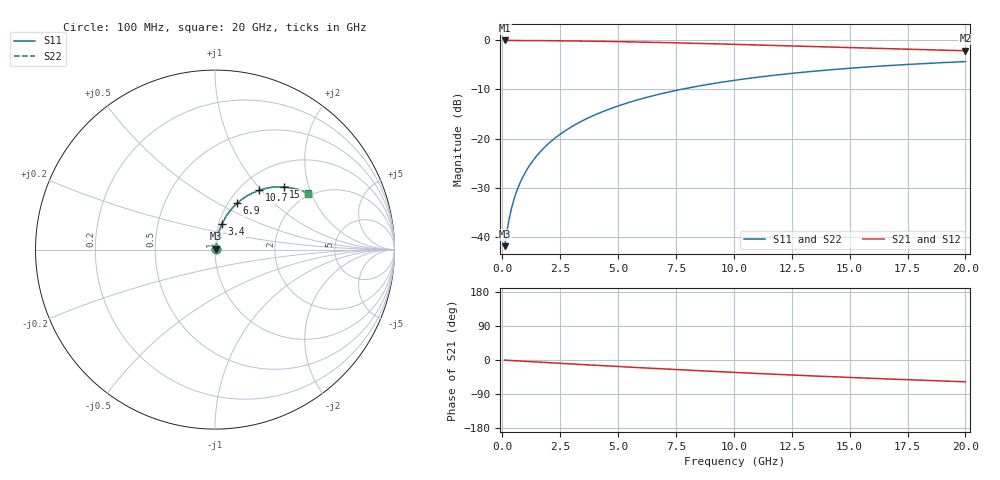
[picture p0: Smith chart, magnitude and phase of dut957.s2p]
! Touchstone file exported from HFSS 2026.1.0
!  File:  C:/ffzhzh/LocalFiles/Ansys_Project_Files/temp_train_BSMRDL_957_1783172368_22436.aedt
!  Generated:  09:40:58 PM Jul  4, 2026
!  Design:  BSMRDL
!  Project:  temp_train_BSMRDL_957_1783172368_22436
! Variables:
!  h_bsmrdl = 3.37um
!  h_ox = 20um
!  h_rdl = 5um
!  h_sub = 80um
!  h_tmrdl = 5um
!  h_tsv = 80um
!  h_via = 3um
!  l_bsmrdl = 812.74um
!  l_sub = 1212.74um
!  l_tmrdl = 200um
!  m_sub = 200um
!  pitch = 52.87um
!  r_tsv = 6um
!  s_tmrdl = 10um
!  w_bsmrdl = 12.97um
!  w_sub = 500um
!  w_tmrdl = 12um
!  x_tsv_center1 = 206um
!  x_tsv_center2 = 1031.71um
!  x_tsv_center3 = 1243.71um
!  x_tsv_center4 = 2069.42um
!  x_tsv_center5 = 2281.42um
!  x_tsv_center6 = 3107.13um
# GHz S MA R 50.000000
! Terminal data exported
! Port[1] = BSM_RDL1_1_T1
! Port[2] = BSM_RDL1_1_T2
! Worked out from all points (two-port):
!   200 points, 100 MHz to 20 GHz, reference 50 ohm
!   highest |S21| = -0.06 dB at 100 MHz (marker M1); lowest = -2.1 dB at 20 GHz (marker M2)
!   |S21| within 3 dB of the highest: start of sweep to end of sweep
!   lowest |S11| = -41.9 dB at 100 MHz (marker M3), VSWR 1.02, Z = 50.7 + j0.466 ohm
!   |S11| at or under -10 dB: start of sweep to 7.73 GHz
!   |S22| runs from -41.9 to -4.4 dB; largest |S21 - S12| = 4.5e-15
!   S11 on the Smith chart (normalised r, x): 100 MHz: 1.01, +0.01; 3.4 GHz: 1.04, +0.30; 6.9 GHz: 1.10, +0.62; 10.7 GHz: 1.22, +0.97; 15 GHz: 1.46, +1.39; 20 GHz: 1.92, +1.90
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0.1  0.008053 34.9  0.9934 -0.4  0.9934 -0.4  0.008053 34.9
! Gamma 0 0 0 0
! Port Impedance 50 0 50 0
0.2  0.01141 53.5  0.9933 -0.7  0.9933 -0.7  0.01141 53.5
0.3  0.01541 62.8  0.9931 -1.1  0.9931 -1.1  0.01541 62.8
0.4  0.01961 67.9  0.9929 -1.4  0.9929 -1.4  0.01961 67.9
0.5  0.0239 71.0  0.9927 -1.8  0.9927 -1.8  0.0239 71.0
0.6  0.02822 73.1  0.9925 -2.1  0.9925 -2.1  0.02821 73.1
0.8  0.03688 75.6  0.992 -2.8  0.992 -2.8  0.03688 75.6
1.1  0.04993 77.4  0.9912 -3.9  0.9912 -3.9  0.04993 77.4
1.5  0.06735 78.1  0.9899 -5.3  0.9899 -5.3  0.06735 78.1
2  0.08908 77.8  0.988 -7.0  0.988 -7.0  0.08908 77.8
2.6  0.115 76.7  0.985 -9.1  0.985 -9.1  0.115 76.7
3.4  0.149 74.8  0.98 -11.8  0.98 -11.8  0.149 74.8
3.5  0.1532 74.5  0.9793 -12.2  0.9793 -12.2  0.1532 74.5
5  0.2144 70.2  0.9669 -17.2  0.9669 -17.2  0.2144 70.2
6.8  0.2831 64.7  0.9479 -23.0  0.9479 -23.0  0.2831 64.7
6.9  0.2868 64.4  0.9467 -23.3  0.9467 -23.3  0.2868 64.4
10.1  0.3931 55.1  0.9063 -33.0  0.9063 -33.0  0.3931 55.1
10.7  0.4108 53.4  0.8982 -34.7  0.8982 -34.7  0.4108 53.4
13.4  0.482 46.3  0.8616 -42.0  0.8616 -42.0  0.4821 46.3
15  0.5181 42.3  0.8405 -46.0  0.8405 -46.0  0.5181 42.3
16.7  0.5519 38.3  0.8189 -50.1  0.8189 -50.1  0.5519 38.3
20  0.6054 31.1  0.7809 -57.5  0.7809 -57.5  0.6054 31.1
